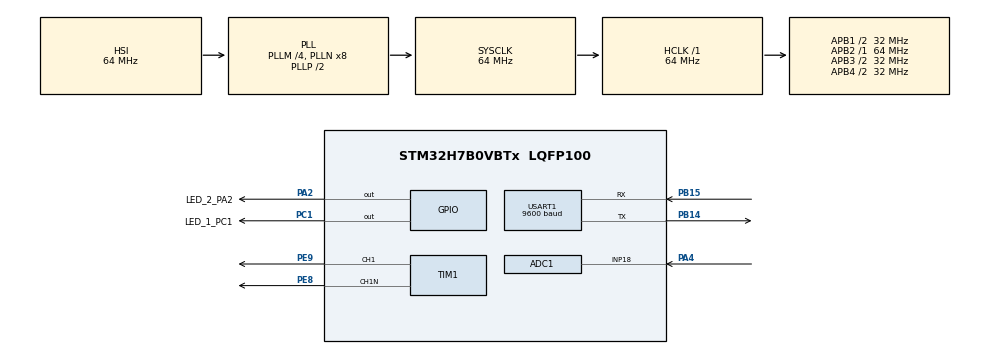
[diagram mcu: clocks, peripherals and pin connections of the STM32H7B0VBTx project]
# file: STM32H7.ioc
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ADC1.Channel-0\#ChannelRegularConversion=ADC_CHANNEL_18
ADC1.ContinuousConvMode=ENABLE
ADC1.NbrOfConversion=1
ADC1.NbrOfConversionFlag=1
ADC1.OffsetNumber-0\#ChannelRegularConversion=ADC_OFFSET_NONE
ADC1.OffsetSignedSaturation-0\#ChannelRegularConversion=DISABLE
ADC1.Rank-0\#ChannelRegularConversion=1
ADC1.SamplingTime-0\#ChannelRegularConversion=ADC_SAMPLETIME_1CYCLE_5
ADC1.master=1
Dma.ADC1.0.Direction=DMA_PERIPH_TO_MEMORY
Dma.ADC1.0.EventEnable=DISABLE
Dma.ADC1.0.FIFOMode=DMA_FIFOMODE_DISABLE
Dma.ADC1.0.Instance=DMA1_Stream0
Dma.ADC1.0.MemDataAlignment=DMA_MDATAALIGN_HALFWORD
Dma.ADC1.0.MemInc=DMA_MINC_ENABLE
Dma.ADC1.0.Mode=DMA_CIRCULAR
Dma.ADC1.0.PeriphDataAlignment=DMA_PDATAALIGN_HALFWORD
Dma.ADC1.0.PeriphInc=DMA_PINC_DISABLE
Dma.ADC1.0.Polarity=HAL_DMAMUX_REQ_GEN_RISING
Dma.ADC1.0.Priority=DMA_PRIORITY_LOW
Dma.ADC1.0.RequestNumber=1
Dma.ADC1.0.SignalID=NONE
Dma.ADC1.0.SyncEnable=DISABLE
Dma.ADC1.0.SyncPolarity=HAL_DMAMUX_SYNC_NO_EVENT
Dma.ADC1.0.SyncRequestNumber=1
Dma.ADC1.0.SyncSignalID=NONE
Dma.Request0=ADC1
Dma.Request1=USART1_RX
Dma.USART1_RX.1.Direction=DMA_PERIPH_TO_MEMORY
Dma.USART1_RX.1.EventEnable=DISABLE
Dma.USART1_RX.1.FIFOMode=DMA_FIFOMODE_DISABLE
Dma.USART1_RX.1.Instance=DMA1_Stream5
Dma.USART1_RX.1.MemDataAlignment=DMA_MDATAALIGN_BYTE
Dma.USART1_RX.1.MemInc=DMA_MINC_ENABLE
Dma.USART1_RX.1.Mode=DMA_CIRCULAR
Dma.USART1_RX.1.PeriphDataAlignment=DMA_PDATAALIGN_BYTE
Dma.USART1_RX.1.PeriphInc=DMA_PINC_DISABLE
Dma.USART1_RX.1.Polarity=HAL_DMAMUX_REQ_GEN_RISING
Dma.USART1_RX.1.Priority=DMA_PRIORITY_LOW
Dma.USART1_RX.1.RequestNumber=1
Dma.USART1_RX.1.SignalID=NONE
Dma.USART1_RX.1.SyncEnable=DISABLE
Dma.USART1_RX.1.SyncPolarity=HAL_DMAMUX_SYNC_NO_EVENT
Dma.USART1_RX.1.SyncRequestNumber=1
Dma.USART1_RX.1.SyncSignalID=NONE
Mcu.Family=STM32H7
Mcu.Name=STM32H7B0VBTx
Mcu.Package=LQFP100
NVIC.ADC_IRQn=true\:0\:0\:false\:false\:true\:true\:true\:true
NVIC.DMA1_Stream0_IRQn=true\:0\:0\:false\:false\:true\:false\:true\:true
NVIC.DMA1_Stream5_IRQn=true\:0\:0\:false\:false\:true\:false\:true\:true
NVIC.PriorityGroup=NVIC_PRIORITYGROUP_4
NVIC.USART1_IRQn=true\:0\:0\:false\:false\:true\:true\:true\:true
PA13.Mode=Serial_Wire
PA13.Signal=DEBUG_JTMS-SWDIO
PA14.Mode=Serial_Wire
PA14.Signal=DEBUG_JTCK-SWCLK
PA2.GPIO_Label=LED_2_PA2
PA2.Signal=GPIO_Output
PA4.Signal=ADCx_INP18
PB14.Mode=Asynchronous
PB14.Signal=USART1_TX
PB15.Mode=Asynchronous
PB15.Signal=USART1_RX
PB3.Signal=DEBUG_JTDO-SWO
PC1.GPIO_Label=LED_1_PC1
PC1.Signal=GPIO_Output
PE8.GPIO_PuPd=GPIO_PULLUP
PE8.Mode=PWM Generation1 CH1 CH1N
PE8.Signal=TIM1_CH1N
PE9.GPIO_PuPd=GPIO_PULLUP
PE9.Signal=S_TIM1_CH1
PH0-OSC_IN.Mode=HSE-External-Oscillator
PH0-OSC_IN.Signal=RCC_OSC_IN
PH1-OSC_OUT.Mode=HSE-External-Oscillator
PH1-OSC_OUT.Signal=RCC_OSC_OUT
ProjectManager.HeapSize=0x200
ProjectManager.StackSize=0x400
ProjectManager.TargetToolchain=STM32CubeIDE
RCC.ADCFreq_Value=42666666.666666664
RCC.APB1Freq_Value=32000000
RCC.APB2Freq_Value=64000000
RCC.APB3Freq_Value=32000000
RCC.APB4Freq_Value=32000000
RCC.CDPPRE=RCC_APB3_DIV2
RCC.CDPPRE1=RCC_APB1_DIV2
RCC.CortexFreq_Value=64000000
RCC.DIVM1=4
RCC.DIVM2=4
RCC.DIVN1=8
RCC.DIVN2=8
RCC.DIVP2=3
RCC.HCLKFreq_Value=64000000
RCC.HSE_VALUE=25000000
RCC.PLL2FRACN=0
RCC.PLL3FRACN=0
RCC.PLLFRACN=0
RCC.SRDPPRE=RCC_APB4_DIV2
RCC.SYSCLKFreq_VALUE=64000000
RCC.SYSCLKSource=RCC_SYSCLKSOURCE_PLLCLK
RCC.USBFreq_Value=64000000
SH.ADCx_INP18.0=ADC1_INP18,IN18-Single-Ended
SH.S_TIM1_CH1.0=TIM1_CH1,PWM Generation1 CH1 CH1N
TIM1.Channel-PWM\ Generation1\ CH1\ CH1N=TIM_CHANNEL_1
USART1.BaudRate=9600
USART1.VirtualMode-Asynchronous=VM_ASYNC
VP_TIM1_VS_ClockSourceINT.Mode=Internal
board=custom

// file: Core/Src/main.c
/* USER CODE BEGIN Header */
/**
  ******************************************************************************
  * @file           : main.c
  * @brief          : Main program body
  ******************************************************************************
  * @attention
  *
  * Copyright (c) 2024 STMicroelectronics.
  * All rights reserved.
  *
  * This software is licensed under terms that can be found in the LICENSE file
  * in the root directory of this software component.
  * If no LICENSE file comes with this software, it is provided AS-IS.
  *
  ******************************************************************************
  */
/* USER CODE END Header */
#include "main.h"

/* USER CODE BEGIN Includes */
#include "stdint.h"
/* USER CODE END Includes */

ADC_HandleTypeDef hadc1;
DMA_HandleTypeDef hdma_adc1;

TIM_HandleTypeDef htim1;

UART_HandleTypeDef huart1;

/* USER CODE BEGIN PV */
double rescale(double var, double min, double max, double newmin, double newmax)
{
	return ((((newmax) - (newmin)) / ((max) - (min))) * ((var) - (min)) + (newmin));
}
/* USER CODE END PV */

void SystemClock_Config(void);
static void MPU_Config(void);
static void MX_GPIO_Init(void);
static void MX_DMA_Init(void);
static void MX_TIM1_Init(void);
static void MX_ADC1_Init(void);
static void MX_USART1_UART_Init(void);
/* USER CODE BEGIN PFP */
uint32_t adc_value = 0;
uint8_t adc_conv_complete_flag = 0;
/* USER CODE END PFP */

/* USER CODE BEGIN 0 */
uint16_t adc_dma_result[1] = {0};
/* USER CODE END 0 */

int main(void)
{

  /* MPU Configuration--------------------------------------------------------*/
  MPU_Config();

  /* MCU Configuration--------------------------------------------------------*/

  /* Reset of all peripherals, Initializes the Flash interface and the Systick. */
  HAL_Init();

  /* Configure the system clock */
  SystemClock_Config();

  /* Initialize all configured peripherals */
  MX_GPIO_Init();
  MX_DMA_Init();
  MX_TIM1_Init();
  MX_ADC1_Init();
  MX_USART1_UART_Init();
  /* USER CODE BEGIN 2 */
	HAL_TIM_PWM_Start(&htim1, TIM_CHANNEL_1);

  HAL_StatusTypeDef status = HAL_ADC_Start_DMA(&hadc1, (uint32_t*)adc_dma_result, 1);
//    uint16_t max = __HAL_TIM_GET_AUTORELOAD(&htim1);

    __HAL_TIM_SET_PRESCALER(&htim1, 63);
    TIM1->CCR1 = 3;
    TIM1->ARR = 10;

  /* USER CODE END 2 */

  /* Infinite loop */
  /* USER CODE BEGIN WHILE */
    HAL_GPIO_WritePin(LED_1_PC1_GPIO_Port, LED_1_PC1_Pin, GPIO_PIN_SET);

    while (1) {
      HAL_Delay(200);
      HAL_GPIO_TogglePin(LED_1_PC1_GPIO_Port, LED_1_PC1_Pin);
    /* USER CODE END WHILE */
      adc_value = HAL_ADC_GetValue(&hadc1);
      double arr_factor = rescale(adc_value, 0, 65535, 1, 10);
      uint32_t arr_final = (1000) / arr_factor;
      TIM1->ARR = arr_final;
      uint32_t pre_arr = __HAL_TIM_GET_AUTORELOAD(&htim1);
      if (pre_arr > 2) {
		TIM1->CCR1 = (pre_arr / 2);
	}

      /* USER CODE BEGIN 3 */
    if (adc_conv_complete_flag) {
      adc_value = adc_dma_result[0];
    }
    }
  /* USER CODE END 3 */
}

void SystemClock_Config(void)
{
  RCC_OscInitTypeDef RCC_OscInitStruct = {0};
  RCC_ClkInitTypeDef RCC_ClkInitStruct = {0};

  /*AXI clock gating */
  RCC->CKGAENR = 0xFFFFFFFF;

  /** Supply configuration update enable
  */
  HAL_PWREx_ConfigSupply(PWR_LDO_SUPPLY);

  /** Configure the main internal regulator output voltage
  */
  __HAL_PWR_VOLTAGESCALING_CONFIG(PWR_REGULATOR_VOLTAGE_SCALE3);

  while(!__HAL_PWR_GET_FLAG(PWR_FLAG_VOSRDY)) {}

  /** Initializes the RCC Oscillators according to the specified parameters
  * in the RCC_OscInitTypeDef structure.
  */
  RCC_OscInitStruct.OscillatorType = RCC_OSCILLATORTYPE_HSI;
  RCC_OscInitStruct.HSIState = RCC_HSI_DIV1;
  RCC_OscInitStruct.HSICalibrationValue = 64;
  RCC_OscInitStruct.PLL.PLLState = RCC_PLL_ON;
  RCC_OscInitStruct.PLL.PLLSource = RCC_PLLSOURCE_HSI;
  RCC_OscInitStruct.PLL.PLLM = 4;
  RCC_OscInitStruct.PLL.PLLN = 8;
  RCC_OscInitStruct.PLL.PLLP = 2;
  RCC_OscInitStruct.PLL.PLLQ = 2;
  RCC_OscInitStruct.PLL.PLLR = 2;
  RCC_OscInitStruct.PLL.PLLRGE = RCC_PLL1VCIRANGE_3;
  RCC_OscInitStruct.PLL.PLLVCOSEL = RCC_PLL1VCOWIDE;
  RCC_OscInitStruct.PLL.PLLFRACN = 0;
  if (HAL_RCC_OscConfig(&RCC_OscInitStruct) != HAL_OK)
  {
    Error_Handler();
  }

  /** Initializes the CPU, AHB and APB buses clocks
  */
  RCC_ClkInitStruct.ClockType = RCC_CLOCKTYPE_HCLK|RCC_CLOCKTYPE_SYSCLK
                              |RCC_CLOCKTYPE_PCLK1|RCC_CLOCKTYPE_PCLK2
                              |RCC_CLOCKTYPE_D3PCLK1|RCC_CLOCKTYPE_D1PCLK1;
  RCC_ClkInitStruct.SYSCLKSource = RCC_SYSCLKSOURCE_PLLCLK;
  RCC_ClkInitStruct.SYSCLKDivider = RCC_SYSCLK_DIV1;
  RCC_ClkInitStruct.AHBCLKDivider = RCC_HCLK_DIV1;
  RCC_ClkInitStruct.APB3CLKDivider = RCC_APB3_DIV2;
  RCC_ClkInitStruct.APB1CLKDivider = RCC_APB1_DIV2;
  RCC_ClkInitStruct.APB2CLKDivider = RCC_APB2_DIV1;
  RCC_ClkInitStruct.APB4CLKDivider = RCC_APB4_DIV2;

  if (HAL_RCC_ClockConfig(&RCC_ClkInitStruct, FLASH_LATENCY_2) != HAL_OK)
  {
    Error_Handler();
  }
}

static void MX_ADC1_Init(void)
{

  ADC_MultiModeTypeDef multimode = {0};
  ADC_ChannelConfTypeDef sConfig = {0};

  /** Common config
  */
  hadc1.Instance = ADC1;
  hadc1.Init.ClockPrescaler = ADC_CLOCK_ASYNC_DIV1;
  hadc1.Init.Resolution = ADC_RESOLUTION_16B;
  hadc1.Init.ScanConvMode = ADC_SCAN_DISABLE;
  hadc1.Init.EOCSelection = ADC_EOC_SINGLE_CONV;
  hadc1.Init.LowPowerAutoWait = DISABLE;
  hadc1.Init.ContinuousConvMode = ENABLE;
  hadc1.Init.NbrOfConversion = 1;
  hadc1.Init.DiscontinuousConvMode = DISABLE;
  hadc1.Init.ExternalTrigConv = ADC_SOFTWARE_START;
  hadc1.Init.ExternalTrigConvEdge = ADC_EXTERNALTRIGCONVEDGE_NONE;
  hadc1.Init.ConversionDataManagement = ADC_CONVERSIONDATA_DR;
  hadc1.Init.Overrun = ADC_OVR_DATA_PRESERVED;
  hadc1.Init.LeftBitShift = ADC_LEFTBITSHIFT_NONE;
  hadc1.Init.OversamplingMode = DISABLE;
  if (HAL_ADC_Init(&hadc1) != HAL_OK)
  {
    Error_Handler();
  }

  /** Configure the ADC multi-mode
  */
  multimode.Mode = ADC_MODE_INDEPENDENT;
  if (HAL_ADCEx_MultiModeConfigChannel(&hadc1, &multimode) != HAL_OK)
  {
    Error_Handler();
  }

  /** Configure Regular Channel
  */
  sConfig.Channel = ADC_CHANNEL_18;
  sConfig.Rank = ADC_REGULAR_RANK_1;
  sConfig.SamplingTime = ADC_SAMPLETIME_1CYCLE_5;
  sConfig.SingleDiff = ADC_SINGLE_ENDED;
  sConfig.OffsetNumber = ADC_OFFSET_NONE;
  sConfig.Offset = 0;
  sConfig.OffsetSignedSaturation = DISABLE;
  if (HAL_ADC_ConfigChannel(&hadc1, &sConfig) != HAL_OK)
  {
    Error_Handler();
  }

}

static void MX_TIM1_Init(void)
{

  TIM_ClockConfigTypeDef sClockSourceConfig = {0};
  TIM_MasterConfigTypeDef sMasterConfig = {0};
  TIM_OC_InitTypeDef sConfigOC = {0};
  TIM_BreakDeadTimeConfigTypeDef sBreakDeadTimeConfig = {0};

  htim1.Instance = TIM1;
  htim1.Init.Prescaler = 0;
  htim1.Init.CounterMode = TIM_COUNTERMODE_UP;
  htim1.Init.Period = 65535;
  htim1.Init.ClockDivision = TIM_CLOCKDIVISION_DIV1;
  htim1.Init.RepetitionCounter = 0;
  htim1.Init.AutoReloadPreload = TIM_AUTORELOAD_PRELOAD_DISABLE;
  if (HAL_TIM_Base_Init(&htim1) != HAL_OK)
  {
    Error_Handler();
  }
  sClockSourceConfig.ClockSource = TIM_CLOCKSOURCE_INTERNAL;
  if (HAL_TIM_ConfigClockSource(&htim1, &sClockSourceConfig) != HAL_OK)
  {
    Error_Handler();
  }
  if (HAL_TIM_PWM_Init(&htim1) != HAL_OK)
  {
    Error_Handler();
  }
  sMasterConfig.MasterOutputTrigger = TIM_TRGO_RESET;
  sMasterConfig.MasterOutputTrigger2 = TIM_TRGO2_RESET;
  sMasterConfig.MasterSlaveMode = TIM_MASTERSLAVEMODE_DISABLE;
  if (HAL_TIMEx_MasterConfigSynchronization(&htim1, &sMasterConfig) != HAL_OK)
  {
    Error_Handler();
  }
  sConfigOC.OCMode = TIM_OCMODE_PWM1;
  sConfigOC.Pulse = 0;
  sConfigOC.OCPolarity = TIM_OCPOLARITY_HIGH;
  sConfigOC.OCNPolarity = TIM_OCNPOLARITY_HIGH;
  sConfigOC.OCFastMode = TIM_OCFAST_DISABLE;
  sConfigOC.OCIdleState = TIM_OCIDLESTATE_RESET;
  sConfigOC.OCNIdleState = TIM_OCNIDLESTATE_RESET;
  if (HAL_TIM_PWM_ConfigChannel(&htim1, &sConfigOC, TIM_CHANNEL_1) != HAL_OK)
  {
    Error_Handler();
  }
  sBreakDeadTimeConfig.OffStateRunMode = TIM_OSSR_DISABLE;
  sBreakDeadTimeConfig.OffStateIDLEMode = TIM_OSSI_DISABLE;
  sBreakDeadTimeConfig.LockLevel = TIM_LOCKLEVEL_OFF;
  sBreakDeadTimeConfig.DeadTime = 0;
  sBreakDeadTimeConfig.BreakState = TIM_BREAK_DISABLE;
  sBreakDeadTimeConfig.BreakPolarity = TIM_BREAKPOLARITY_HIGH;
  sBreakDeadTimeConfig.BreakFilter = 0;
  sBreakDeadTimeConfig.Break2State = TIM_BREAK2_DISABLE;
  sBreakDeadTimeConfig.Break2Polarity = TIM_BREAK2POLARITY_HIGH;
  sBreakDeadTimeConfig.Break2Filter = 0;
  sBreakDeadTimeConfig.AutomaticOutput = TIM_AUTOMATICOUTPUT_DISABLE;
  if (HAL_TIMEx_ConfigBreakDeadTime(&htim1, &sBreakDeadTimeConfig) != HAL_OK)
  {
    Error_Handler();
  }
  HAL_TIM_MspPostInit(&htim1);

}

static void MX_USART1_UART_Init(void)
{

  huart1.Instance = USART1;
  huart1.Init.BaudRate = 9600;
  huart1.Init.WordLength = UART_WORDLENGTH_8B;
  huart1.Init.StopBits = UART_STOPBITS_1;
  huart1.Init.Parity = UART_PARITY_NONE;
  huart1.Init.Mode = UART_MODE_TX_RX;
  huart1.Init.HwFlowCtl = UART_HWCONTROL_NONE;
  huart1.Init.OverSampling = UART_OVERSAMPLING_16;
  huart1.Init.OneBitSampling = UART_ONE_BIT_SAMPLE_DISABLE;
  huart1.Init.ClockPrescaler = UART_PRESCALER_DIV1;
  huart1.AdvancedInit.AdvFeatureInit = UART_ADVFEATURE_NO_INIT;
  if (HAL_UART_Init(&huart1) != HAL_OK)
  {
    Error_Handler();
  }
  if (HAL_UARTEx_SetTxFifoThreshold(&huart1, UART_TXFIFO_THRESHOLD_1_8) != HAL_OK)
  {
    Error_Handler();
  }
  if (HAL_UARTEx_SetRxFifoThreshold(&huart1, UART_RXFIFO_THRESHOLD_1_8) != HAL_OK)
  {
    Error_Handler();
  }
  if (HAL_UARTEx_DisableFifoMode(&huart1) != HAL_OK)
  {
    Error_Handler();
  }

}

static void MX_DMA_Init(void)
{

  /* DMA controller clock enable */
  __HAL_RCC_DMA1_CLK_ENABLE();

  /* DMA interrupt init */
  /* DMA1_Stream0_IRQn interrupt configuration */
  HAL_NVIC_SetPriority(DMA1_Stream0_IRQn, 0, 0);
  HAL_NVIC_EnableIRQ(DMA1_Stream0_IRQn);
  /* DMAMUX1_OVR_IRQn interrupt configuration */
  HAL_NVIC_SetPriority(DMAMUX1_OVR_IRQn, 0, 0);
  HAL_NVIC_EnableIRQ(DMAMUX1_OVR_IRQn);

}

static void MX_GPIO_Init(void)
{
  GPIO_InitTypeDef GPIO_InitStruct = {0};

  /* GPIO Ports Clock Enable */
  __HAL_RCC_GPIOH_CLK_ENABLE();
  __HAL_RCC_GPIOC_CLK_ENABLE();
  __HAL_RCC_GPIOA_CLK_ENABLE();
  __HAL_RCC_GPIOE_CLK_ENABLE();
  __HAL_RCC_GPIOB_CLK_ENABLE();

  /*Configure GPIO pin Output Level */
  HAL_GPIO_WritePin(LED_1_PC1_GPIO_Port, LED_1_PC1_Pin, GPIO_PIN_RESET);

  /*Configure GPIO pin Output Level */
  HAL_GPIO_WritePin(LED_2_PA2_GPIO_Port, LED_2_PA2_Pin, GPIO_PIN_RESET);

  /*Configure GPIO pin : LED_1_PC1_Pin */
  GPIO_InitStruct.Pin = LED_1_PC1_Pin;
  GPIO_InitStruct.Mode = GPIO_MODE_OUTPUT_PP;
  GPIO_InitStruct.Pull = GPIO_NOPULL;
  GPIO_InitStruct.Speed = GPIO_SPEED_FREQ_LOW;
  HAL_GPIO_Init(LED_1_PC1_GPIO_Port, &GPIO_InitStruct);

  /*Configure GPIO pin : LED_2_PA2_Pin */
  GPIO_InitStruct.Pin = LED_2_PA2_Pin;
  GPIO_InitStruct.Mode = GPIO_MODE_OUTPUT_PP;
  GPIO_InitStruct.Pull = GPIO_NOPULL;
  GPIO_InitStruct.Speed = GPIO_SPEED_FREQ_LOW;
  HAL_GPIO_Init(LED_2_PA2_GPIO_Port, &GPIO_InitStruct);

}

/* USER CODE BEGIN 4 */
void HAL_ADC_ConvCpltCallback(ADC_HandleTypeDef* hadc){
	// I set adc_conv_complete_flag variable to 1 when,
	// HAL_ADC_ConvCpltCallback function is call.
	adc_conv_complete_flag = 1;
  __NOP();
}
/* USER CODE END 4 */

/* MPU Configuration */

void MPU_Config(void)
{
  MPU_Region_InitTypeDef MPU_InitStruct = {0};

  /* Disables the MPU */
  HAL_MPU_Disable();

  /** Initializes and configures the Region and the memory to be protected
  */
  MPU_InitStruct.Enable = MPU_REGION_ENABLE;
  MPU_InitStruct.Number = MPU_REGION_NUMBER0;
  MPU_InitStruct.BaseAddress = 0x0;
  MPU_InitStruct.Size = MPU_REGION_SIZE_4GB;
  MPU_InitStruct.SubRegionDisable = 0x87;
  MPU_InitStruct.TypeExtField = MPU_TEX_LEVEL0;
  MPU_InitStruct.AccessPermission = MPU_REGION_NO_ACCESS;
  MPU_InitStruct.DisableExec = MPU_INSTRUCTION_ACCESS_DISABLE;
  MPU_InitStruct.IsShareable = MPU_ACCESS_SHAREABLE;
  MPU_InitStruct.IsCacheable = MPU_ACCESS_NOT_CACHEABLE;
  MPU_InitStruct.IsBufferable = MPU_ACCESS_NOT_BUFFERABLE;

  HAL_MPU_ConfigRegion(&MPU_InitStruct);
  /* Enables the MPU */
  HAL_MPU_Enable(MPU_PRIVILEGED_DEFAULT);

}

void Error_Handler(void)
{
  __disable_irq();
  while (1)
  {
  }
}
